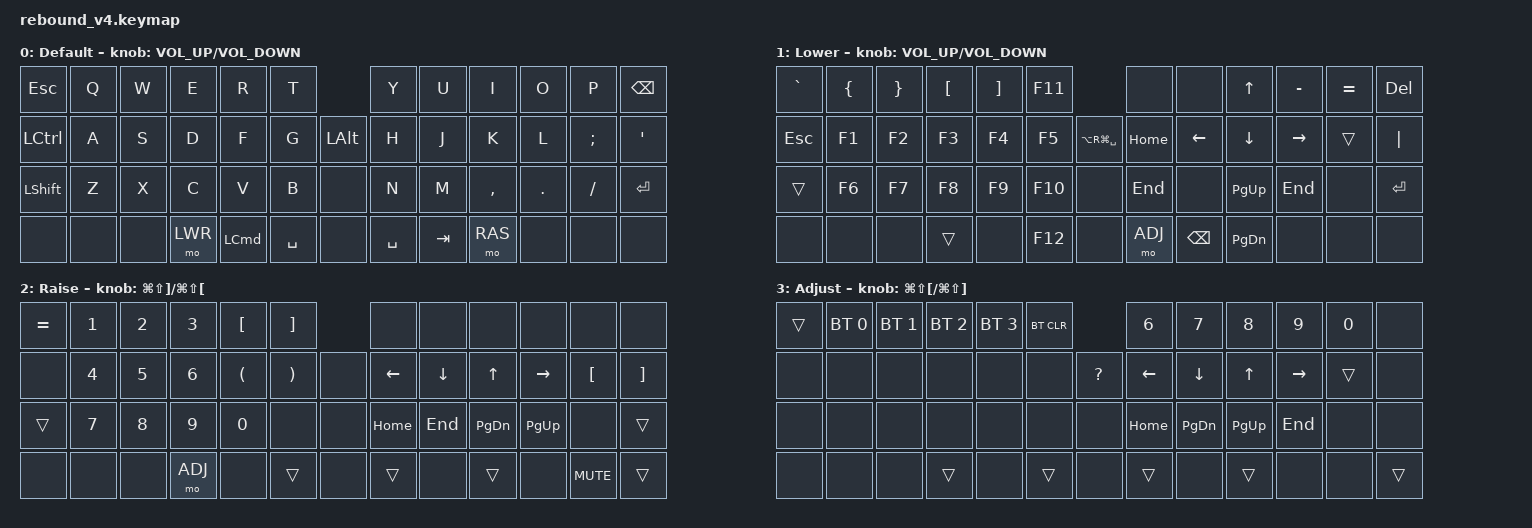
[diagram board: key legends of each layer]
/*
 * Copyright (c) 2020 The ZMK Contributors
 *
 * SPDX-License-Identifier: MIT
 */

#include <behaviors.dtsi>
#include <dt-bindings/zmk/keys.h>
#include <dt-bindings/zmk/bt.h>
#include <dt-bindings/zmk/outputs.h>
#include <dt-bindings/zmk/ext_power.h>
#include <dt-bindings/zmk/rgb.h>

#define DEFAULT 0
#define LWR     1
#define RAS     2
#define ADJ     3

&caps_word {
    continue-list = <UNDERSCORE MINUS>;
};

/ {
    combos {
    };
  };

/ {
    conditional_layers {
        compatible = "zmk,conditional-layers";
        tri_layer {
            if-layers = <1 2>;
            then-layer = <3>;
        };
    };
};

/ {

    behaviors {
        hm: homerow_mods {
            compatible = "zmk,behavior-hold-tap";
            label = "HOMEROW_MODS";
            #binding-cells = <2>;
            tapping-term-ms = <200>;
            quick_tap_ms = <0>;
            flavor = "tap-preferred";
            bindings = <&kp>, <&kp>;
        };
        hs: homerow_shift {
            compatible = "zmk,behavior-hold-tap";
            label = "HOMEROW_MODS";
            #binding-cells = <2>;
            tapping-term-ms = <250>;
            quick_tap_ms = <0>;
            flavor = "tap-preferred";
            bindings = <&kp>, <&kp>;
        };
        am: amethyst_modifyers {
            compatible = "zmk,behavior-hold-tap";
            label = "AMETHYST_MODIFYER";
            #binding-cells = <2>;
            tapping-term-ms = <250>;
            quick_tap_ms = <0>;
            flavor = "tap-preferred";
            bindings = <&kp>, <&kp>;
        };
    };

        keymap {
        compatible = "zmk,keymap";

        default_layer {        
            label = "Default";              					  
		    bindings = <
        &kp ESC           &kp Q       &kp W       &kp E       &kp R         &kp T                                    &kp Y       &kp U         &kp I         &kp O       &kp P           &kp BSPC
        &kp LCTRL             &kp A       &kp S       &kp D       &kp F         &kp G           &kp  LALT                &kp H       &kp J         &kp K         &kp L       &kp SEMI        &kp SQT
        &kp LSHIFT          &kp Z       &kp X       &kp C       &kp V         &kp B              &none                 &kp N       &kp M         &kp COMMA     &kp DOT     &kp FSLH        &kp ENTER
        &none               &none       &none       &mo LWR     &kp LCMD      &kp SPACE          &none                 &kp SPACE   &kp TAB       &mo RAS       &none       &none           &none
                        >;
			            sensor-bindings = <&inc_dec_kp C_VOLUME_UP C_VOLUME_DOWN>;
                };

        lower_layer {        
            label = "Lower";              					  
		    bindings = <
        &kp GRAVE         &kp LEFT_BRACE         &kp RIGHT_BRACE         &kp LEFT_BRACKET       &kp RIGHT_BRACKET      &kp F11                                   &none        &none       &kp UP      &kp MINUS   &kp EQUAL       &kp DEL 
        &kp ESC             &kp F1                 &kp F2                  &kp F3                 &kp F4                 &kp F5           &kp LA(RG(SPACE))           &kp HOME     &kp LEFT    &kp DOWN    &kp RIGHT   &trans          &kp PIPE 
        &trans              &kp F6                 &kp F7                  &kp F8                 &kp F9                 &kp F10               &none                  &kp END      &none       &kp PG_UP   &kp END     &none           &kp ENTER
        &none               &none                  &none                   &trans                 &none                  &kp F12               &none                  &mo ADJ       &kp BSPC     &kp PG_DN   &none       &none           &none
                        >;
                        sensor-bindings = <&inc_dec_kp C_VOLUME_UP C_VOLUME_DOWN>;
                };
        raise_layer {        
            label = "Raise";              					  
		    bindings = <
        &kp EQUAL           &kp N1      &kp N2      &kp N3     &kp LEFT_BRACKET   &kp RIGHT_BRACKET                                 &none                   &none         &none         &none       &none             &none 
        &none               &kp N4      &kp N5      &kp N6     &kp LPAR           &kp RPAR                   &none                  &kp LEFT                &kp DOWN      &kp UP        &kp RIGHT   &kp LEFT_BRACKET  &kp RIGHT_BRACKET 
        &trans              &kp N7      &kp N8      &kp N9     &kp N0             &none                      &none                  &kp HOME                &kp END       &kp PG_DN     &kp PG_UP   &none             &trans
        &none               &none       &none       &mo ADJ     &none              &trans                     &none                  &trans                  &none         &trans        &none       &kp C_MUTE        &trans
                        >;
			            sensor-bindings = <&inc_dec_kp LG(LS(RBKT)) LG(LS(LBKT))>;
                };
        adjust_layer {        
            label = "Adjust";              					  
		    bindings = <
        &trans              &bt BT_SEL 0 &bt BT_SEL 1 &bt BT_SEL 2 &bt BT_SEL 3    &bt BT_CLR                                      &kp N6                  &kp N7        &kp N8        &kp N9      &kp N0          &none 
        &none               &none        &none        &none        &none           &none                    &kp QMARK              &kp LEFT                &kp DOWN      &kp UP        &kp RIGHT   &trans          &none 
        &none               &none        &none        &none        &none           &none                    &none                  &kp HOME                &kp PG_DN     &kp PG_UP     &kp END     &none           &none 
        &none               &none        &none        &trans       &none           &trans                   &none                  &trans                  &none         &trans        &none       &none           &trans
                        >;
			            sensor-bindings = <&inc_dec_kp LG(LS(LBKT)) LG(LS(RBKT))>;
                };       
        };
};
